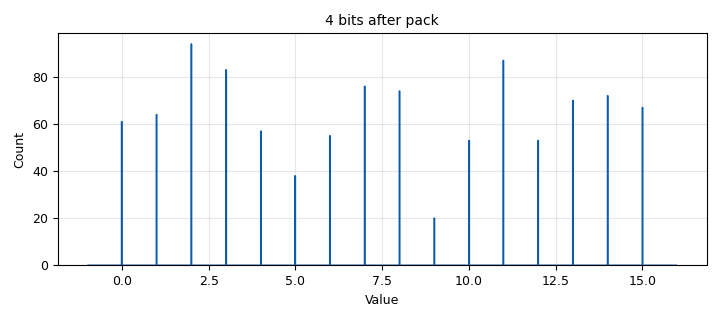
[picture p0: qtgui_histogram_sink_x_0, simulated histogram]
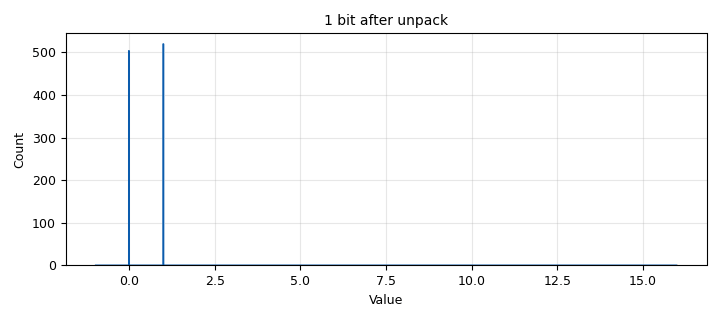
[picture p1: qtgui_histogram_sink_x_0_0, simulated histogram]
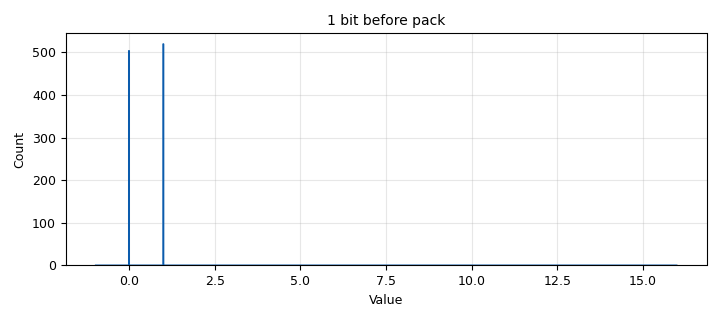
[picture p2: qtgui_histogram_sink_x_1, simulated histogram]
options:
  parameters:
    generate_options: qt_gui
    id: packing_bits
    output_language: python
    title: packing_bits_tutorial
  states: {}

blocks:
- name: samp_rate
  id: variable
  parameters:
    value: '32000'
  states: {}
- name: analog_random_source_x_0
  id: analog_random_source_x
  parameters:
    max: '2'
    min: '0'
    num_samps: '1000'
    repeat: 'True'
    type: byte
  states: {}
- name: blocks_char_to_float_0
  id: blocks_char_to_float
  parameters:
    scale: '1'
  states: {}
- name: blocks_char_to_float_0_0
  id: blocks_char_to_float
  parameters:
    scale: '1'
  states: {}
- name: blocks_char_to_float_1
  id: blocks_char_to_float
  parameters:
    scale: '1'
  states: {}
- name: blocks_pack_k_bits_bb_0
  id: blocks_pack_k_bits_bb
  parameters:
    k: '4'
  states: {}
- name: blocks_throttle_0
  id: blocks_throttle
  parameters:
    samples_per_second: samp_rate
    type: byte
  states: {}
- name: blocks_unpack_k_bits_bb_0
  id: blocks_unpack_k_bits_bb
  parameters:
    k: '4'
  states: {}
- name: qtgui_histogram_sink_x_0
  id: qtgui_histogram_sink_x
  parameters:
    bins: '1024'
    name: '"4 bits after pack"'
    size: '1024'
    type: float
    xmax: '16'
    xmin: '-1'
  states: {}
- name: qtgui_histogram_sink_x_0_0
  id: qtgui_histogram_sink_x
  parameters:
    bins: '1024'
    name: '"1 bit after unpack"'
    size: '1024'
    type: float
    xmax: '16'
    xmin: '-1'
  states: {}
- name: qtgui_histogram_sink_x_1
  id: qtgui_histogram_sink_x
  parameters:
    bins: '1024'
    name: '"1 bit before pack"'
    size: '1024'
    type: float
    xmax: '16'
    xmin: '-1'
  states: {}

connections:
- [analog_random_source_x_0, '0', blocks_throttle_0, '0']
- [blocks_char_to_float_0, '0', qtgui_histogram_sink_x_0, '0']
- [blocks_char_to_float_0_0, '0', qtgui_histogram_sink_x_0_0, '0']
- [blocks_char_to_float_1, '0', qtgui_histogram_sink_x_1, '0']
- [blocks_pack_k_bits_bb_0, '0', blocks_char_to_float_0, '0']
- [blocks_pack_k_bits_bb_0, '0', blocks_unpack_k_bits_bb_0, '0']
- [blocks_throttle_0, '0', blocks_char_to_float_1, '0']
- [blocks_throttle_0, '0', blocks_pack_k_bits_bb_0, '0']
- [blocks_unpack_k_bits_bb_0, '0', blocks_char_to_float_0_0, '0']

metadata:
  file_format: 1
